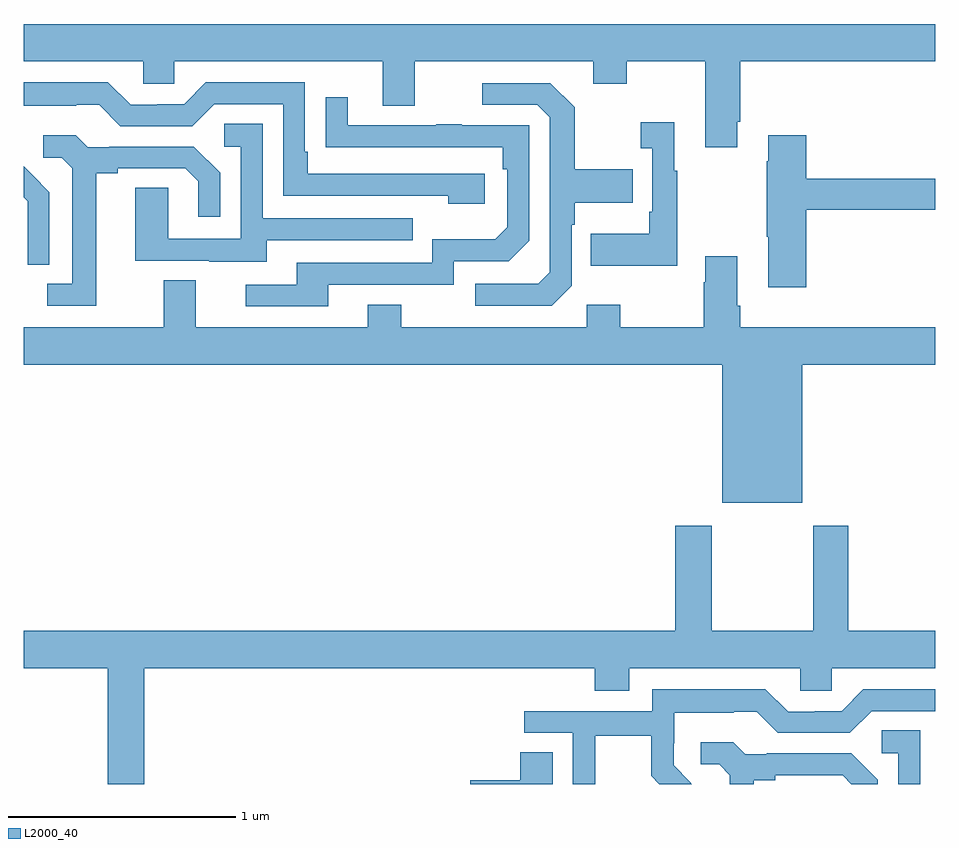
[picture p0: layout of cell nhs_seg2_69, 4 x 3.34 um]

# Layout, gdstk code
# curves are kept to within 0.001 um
import gdstk
lib = gdstk.Library(unit=1e-6, precision=1e-09)
def P(c, l, *ps):  # polygons
    for p in ps: c.add(gdstk.Polygon(p, *l))
L2000_40 = (2000, 40)

nhs_seg2_69 = lib.new_cell('nhs_seg2_69')
P(nhs_seg2_69, L2000_40, [(116.131,644.707),(116.144,644.707),(116.144,644.972),(117,644.972),(117,645.136),(113,645.136),(113,644.972),(113.523,644.972),(113.523,644.874),(113.661,644.874),(113.661,644.972),(114.575,644.972),(114.575,644.778),(114.715,644.778),(114.715,644.972),(115.499,644.972),(115.499,644.873),(115.647,644.873),(115.647,644.972),(115.991,644.972),(115.991,644.595),(116.131,644.595)],
  [(115.024,644.478),(114.247,644.478),(114.247,644.575),(114.234,644.575),(114.234,644.88),(113.799,644.88),(113.703,644.784),(113.585,644.784),(113.585,644.781),(113.469,644.781),(113.369,644.881),(113,644.881),(113,644.777),(113.231,644.777),(113.231,644.781),(113.331,644.781),(113.424,644.688),(113.739,644.688),(113.835,644.784),(114.138,644.784),(114.138,644.382),(114.863,644.382),(114.863,644.348),(115.024,644.348)],
  [(115.404,643.986),(115.404,644.255),(115.417,644.255),(115.417,644.351),(115.673,644.351),(115.673,644.499),(115.417,644.499),(115.417,644.771),(115.311,644.877),(115.011,644.877),(115.011,644.781),(115.254,644.781),(115.308,644.727),(115.308,644.046),(115.257,643.995),(114.981,643.995),(114.981,643.899),(115.317,643.899)],
  [(114.337,643.992),(114.888,643.992),(114.888,644.094),(115.128,644.094),(115.218,644.184),(115.218,644.691),(114.923,644.691),(114.923,644.696),(114.811,644.696),(114.811,644.691),(114.421,644.691),(114.421,644.815),(114.325,644.815),(114.325,644.596),(115.102,644.595),(115.102,644.498),(115.122,644.498),(115.122,644.244),(115.069,644.191),(114.792,644.191),(114.792,644.088),(114.197,644.088),(114.197,643.992),(113.973,643.992),(113.973,643.896),(114.337,643.896)],
  [(115.867,644.491),(115.855,644.491),(115.855,644.704),(115.707,644.704),(115.707,644.591),(115.758,644.591),(115.758,644.311),(115.746,644.311),(115.746,644.215),(115.489,644.215),(115.489,644.075),(115.867,644.075)],
  [(114.067,644.187),(114.707,644.187),(114.707,644.283),(114.048,644.283),(114.048,644.699),(113.88,644.699),(113.88,644.598),(113.952,644.598),(113.952,644.193),(113.634,644.193),(113.634,644.417),(113.489,644.417),(113.489,644.097),(113.813,644.097),(113.813,644.093),(114.067,644.093)],
  [(113.317,644.48),(113.413,644.48),(113.413,644.502),(113.708,644.502),(113.765,644.445),(113.765,644.289),(113.862,644.289),(113.862,644.482),(113.746,644.598),(113.374,644.598),(113.374,644.595),(113.28,644.595),(113.228,644.647),(113.085,644.647),(113.085,644.55),(113.166,644.55),(113.213,644.503),(113.213,643.995),(113.103,643.995),(113.103,643.899),(113.317,643.899)],
  [(116.435,644.32),(117,644.32),(117,644.456),(116.435,644.456),(116.435,644.647),(116.267,644.647),(116.267,644.534),(116.26,644.534),(116.26,644.203),(116.267,644.203),(116.267,643.98),(116.435,643.98)],
  [(113.112,644.398),(113.039,644.471),(113.04,644.472),(113,644.512),(113,644.375),(113.018,644.357),(113.018,644.234),(113.016,644.234),(113.016,644.08),(113.112,644.08)],
  [(116.416,643.64),(117,643.64),(117,643.804),(116.144,643.804),(116.144,643.9),(116.131,643.9),(116.131,644.116),(115.991,644.116),(115.991,644.003),(115.984,644.003),(115.984,643.804),(115.617,643.804),(115.617,643.903),(115.47,643.903),(115.47,643.804),(114.657,643.804),(114.657,643.903),(114.509,643.903),(114.509,643.804),(113.755,643.804),(113.755,644.012),(113.615,644.012),(113.615,643.804),(113,643.804),(113,643.64),(116.066,643.64),(116.066,643.034),(116.416,643.034)],
  [(113.528,642.308),(115.505,642.308),(115.505,642.209),(115.657,642.209),(115.657,642.308),(116.409,642.308),(116.409,642.21),(116.547,642.21),(116.547,642.308),(117,642.308),(117,642.472),(116.619,642.472),(116.619,642.934),(116.464,642.934),(116.464,642.472),(116.019,642.472),(116.019,642.934),(115.859,642.934),(115.859,642.472),(113,642.472),(113,642.308),(113.368,642.308),(113.368,641.8),(113.528,641.8)],
  [(115.509,642.012),(115.753,642.012),(115.753,641.837),(115.79,641.8),(115.932,641.8),(115.925,641.807),(115.926,641.808),(115.852,641.882),(115.852,641.979),(115.854,641.979),(115.854,642.113),(116.117,642.113),(116.117,642.117),(116.217,642.117),(116.31,642.024),(116.625,642.024),(116.721,642.12),(117,642.12),(117,642.216),(116.685,642.216),(116.589,642.12),(116.471,642.12),(116.471,642.117),(116.355,642.117),(116.255,642.217),(115.758,642.217),(115.758,642.12),(115.197,642.12),(115.197,642.024),(115.41,642.024),(115.41,641.8),(115.509,641.8)],
  [(116.934,642.035),(116.766,642.035),(116.766,641.934),(116.838,641.934),(116.838,641.8),(116.934,641.8)],
  [(116.203,641.816),(116.299,641.816),(116.299,641.838),(116.594,641.838),(116.632,641.8),(116.748,641.8),(116.748,641.818),(116.632,641.934),(116.26,641.934),(116.26,641.931),(116.166,641.931),(116.114,641.983),(115.971,641.983),(115.971,641.886),(116.052,641.886),(116.099,641.839),(116.099,641.8),(116.203,641.8)],
  [(115.321,641.939),(115.178,641.939),(115.178,641.816),(114.96,641.816),(114.96,641.8),(115.321,641.8)])

lib.write_gds('nhs_seg2_69.gds')
